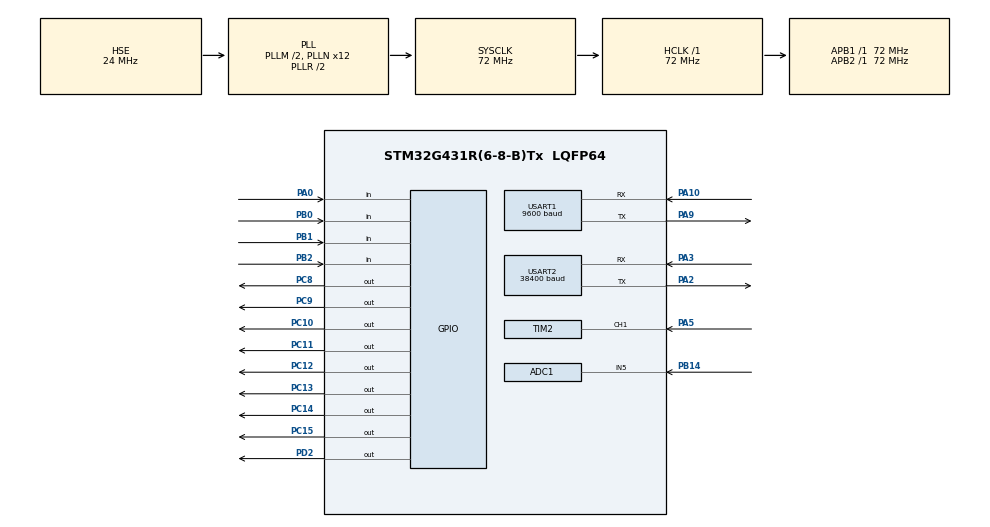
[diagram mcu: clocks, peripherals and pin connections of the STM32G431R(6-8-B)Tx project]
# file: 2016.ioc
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ADC1.Channel-0\#ChannelRegularConversion=ADC_CHANNEL_5
ADC1.ClockPrescaler=ADC_CLOCK_ASYNC_DIV2
ADC1.NbrOfConversionFlag=1
ADC1.OffsetNumber-0\#ChannelRegularConversion=ADC_OFFSET_NONE
ADC1.Rank-0\#ChannelRegularConversion=1
ADC1.SamplingTime-0\#ChannelRegularConversion=ADC_SAMPLETIME_640CYCLES_5
ADC1.master=1
Mcu.Family=STM32G4
Mcu.Name=STM32G431R(6-8-B)Tx
Mcu.Package=LQFP64
NVIC.ADC1_2_IRQn=true\:0\:0\:false\:false\:true\:true\:true\:true
NVIC.PriorityGroup=NVIC_PRIORITYGROUP_2
NVIC.TIM2_IRQn=true\:0\:0\:false\:false\:true\:true\:true\:true
NVIC.TIM4_IRQn=true\:0\:0\:true\:false\:true\:true\:true\:true
NVIC.USART1_IRQn=true\:1\:0\:true\:false\:true\:true\:true\:true
NVIC.USART2_IRQn=true\:1\:0\:true\:false\:true\:true\:true\:true
PA0.Signal=GPIO_Input
PA10.GPIO_ModeDefaultPP=GPIO_MODE_AF_PP
PA10.Mode=Asynchronous
PA10.Signal=USART1_RX
PA2.Mode=Asynchronous
PA2.Signal=USART2_TX
PA3.Mode=Asynchronous
PA3.Signal=USART2_RX
PA5.Signal=S_TIM2_CH1
PA9.GPIO_ModeDefaultPP=GPIO_MODE_AF_PP
PA9.Mode=Asynchronous
PA9.Signal=USART1_TX
PB0.Signal=GPIO_Input
PB1.Signal=GPIO_Input
PB14.Mode=IN5-Single-Ended
PB14.Signal=ADC1_IN5
PB2.Signal=GPIO_Input
PC10.PinState=GPIO_PIN_SET
PC10.Signal=GPIO_Output
PC11.PinState=GPIO_PIN_SET
PC11.Signal=GPIO_Output
PC12.PinState=GPIO_PIN_SET
PC12.Signal=GPIO_Output
PC13.PinState=GPIO_PIN_SET
PC13.Signal=GPIO_Output
PC14-OSC32_IN.PinState=GPIO_PIN_SET
PC14-OSC32_IN.Signal=GPIO_Output
PC15-OSC32_OUT.PinState=GPIO_PIN_SET
PC15-OSC32_OUT.Signal=GPIO_Output
PC8.PinState=GPIO_PIN_SET
PC8.Signal=GPIO_Output
PC9.PinState=GPIO_PIN_SET
PC9.Signal=GPIO_Output
PD2.PinState=GPIO_PIN_SET
PD2.Signal=GPIO_Output
PF0-OSC_IN.Mode=HSE-External-Oscillator
PF0-OSC_IN.Signal=RCC_OSC_IN
PF1-OSC_OUT.Mode=HSE-External-Oscillator
PF1-OSC_OUT.Signal=RCC_OSC_OUT
ProjectManager.HeapSize=0x200
ProjectManager.StackSize=0x400
ProjectManager.TargetToolchain=MDK-ARM V5
RCC.ADC12Freq_Value=72000000
RCC.AHBFreq_Value=72000000
RCC.APB1Freq_Value=72000000
RCC.APB1TimFreq_Value=72000000
RCC.APB2Freq_Value=72000000
RCC.APB2TimFreq_Value=72000000
RCC.CortexFreq_Value=72000000
RCC.EXTERNAL_CLOCK_VALUE=12288000
RCC.EnbaleCSS=true
RCC.HCLKFreq_Value=72000000
RCC.HSE_VALUE=24000000
RCC.HSI48_VALUE=48000000
RCC.HSI_VALUE=16000000
RCC.LSE_VALUE=32768
RCC.PLLM=RCC_PLLM_DIV2
RCC.PLLN=12
RCC.PLLSourceVirtual=RCC_PLLSOURCE_HSE
RCC.SYSCLKFreq_VALUE=72000000
RCC.SYSCLKSource=RCC_SYSCLKSOURCE_PLLCLK
RCC.USBFreq_Value=72000000
RCC.VCOOutputFreq_Value=144000000
SH.S_TIM2_CH1.0=TIM2_CH1,Input_Capture1_from_TI1
SH.S_TIM2_CH1.1=TIM2_CH1,TriggerSource_TI1FP1
TIM2.AutoReloadPreload=TIM_AUTORELOAD_PRELOAD_ENABLE
TIM2.Channel-Input_Capture1_from_TI1=TIM_CHANNEL_1
TIM2.Channel-Input_Capture2_from_TI1_63=TIM_CHANNEL_2
TIM2.ICFilter_CH1=0
TIM2.ICPolarity_CH2=TIM_INPUTCHANNELPOLARITY_FALLING
TIM4.AutoReloadPreload=TIM_AUTORELOAD_PRELOAD_DISABLE
TIM4.PeriodNoDither=999
TIM4.Prescaler=71
USART1.BaudRate=9600
USART1.VirtualMode-Asynchronous=VM_ASYNC
USART2.BaudRate=38400
USART2.VirtualMode-Asynchronous=VM_ASYNC
VP_SYS_VS_DBSignals.Mode=DisableDeadBatterySignals
VP_TIM2_VS_ClockSourceINT.Mode=Internal
VP_TIM2_VS_ControllerModeReset.Mode=Reset Mode
VP_TIM2_VS_indirect_ch1.Mode=Input_Capture2_from_TI1_63
VP_TIM4_VS_ClockSourceINT.Mode=Internal
board=custom

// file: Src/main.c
/* USER CODE BEGIN Header */
/**
  ******************************************************************************
  * @file           : main.c
  * @brief          : Main program body
  ******************************************************************************
  * @attention
  *
  * <h2><center>&copy; Copyright (c) 2023 STMicroelectronics.
  * All rights reserved.</center></h2>
  *
  * This software component is licensed by ST under BSD 3-Clause license,
  * the "License"; You may not use this file except in compliance with the
  * License. You may obtain a copy of the License at:
  *                        opensource.org/licenses/BSD-3-Clause
  *
  ******************************************************************************
  */
/* USER CODE END Header */
#include "main.h"
#include "adc.h"
#include "tim.h"
#include "usart.h"
#include "gpio.h"

/* USER CODE BEGIN Includes */
#include "lcd.h"
#include "stdio.h"
/* USER CODE END Includes */

/* USER CODE BEGIN PTD */
__IO uint32_t keyslow = 0;
__IO uint32_t ledslow = 0;
__IO uint32_t lcdslow = 0;
__IO uint32_t uartslow = 0;
__IO uint32_t led_bling = 0;

/* USER CODE END PTD */

/* USER CODE BEGIN PD */
uint8_t uk_val,uk_down,uk_up,uk_old;
uint8_t Lcd_string[21];
uint8_t ucled;
//*ADC测量相关变量

float adc_voltage = 0;
uint16_t adc_cnt = 0;
uint16_t adc_max;

//*使用输入捕获测量频率相关变量
uint16_t PWM1_T_Count;
uint16_t PWM1_D_Count;
float PWM1_Duty;

uint8_t tim_flag=0;
uint32_t PWM_RisingCount;
uint32_t PWM_FallingCount;
float max=0;
float min=0.05;
float vpp=0;
float duty=0;

//*串口相关变量
uint8_t rx_buffer;
uint8_t str[40];
uint8_t counter;

//*外部计数器模式测量频率相关频率
uint32_t FQ; 			// 频率
float Time;				//周期
uint16_t CNT_2 = 0; 		// 超出65536位后 用这个记录超过的次数
uint16_t CNT_1 = 0; 		// 0-65536内用这个记录

/* USER CODE END PD */

void SystemClock_Config(void);

int main(void)
{

  /* MCU Configuration--------------------------------------------------------*/

  /* Reset of all peripherals, Initializes the Flash interface and the Systick. */
  HAL_Init();

  /* Configure the system clock */
  SystemClock_Config();

  /* USER CODE BEGIN SysInit */
	void KEY_Proc(void);
	void LCD_Proc(void);
	LCD_Init();
	LCD_Clear(White);
	LCD_SetTextColor(Blue);
	LCD_SetBackColor(White);
	HAL_UART_Receive_IT(&huart2,(uint8_t *)(&rx_buffer),1);

  /* USER CODE END SysInit */

  /* Initialize all configured peripherals */
  MX_GPIO_Init();
  MX_USART1_UART_Init();
  MX_USART2_UART_Init();
  MX_ADC1_Init();
  MX_TIM2_Init();
  MX_TIM4_Init();
  /* USER CODE BEGIN 2 */
  /* 启动定时器 */

  HAL_TIM_Base_Start_IT(&htim4);
//  /* 启动定时器通道输入捕获并开启中断 */
    HAL_TIM_Base_Start(&htim2);
	HAL_TIM_IC_Start_IT(&htim2, TIM_CHANNEL_1);
	HAL_TIM_IC_Start_IT(&htim2, TIM_CHANNEL_2);

  /* USER CODE END 2 */

  /* Infinite loop */
  while (1)
  {

    /* USER CODE BEGIN 3 */
	 adc_voltage = (((float)((get_ADC()*3.3)/4096)));
	 LED_Disp(0x00);
	 KEY_Proc();
	 LCD_Proc();
		if(tim_flag)
		{
			tim_flag=0;
			vpp=max-min;
			sprintf(str, "Fq:%uHz\r\n",72000000/PWM_RisingCount);
			HAL_UART_Transmit(&huart1,(unsigned char *)str, strlen(str), 50);
			sprintf(str, "Duty:%uHz\r\n",duty * 100);
			HAL_UART_Transmit(&huart1,(unsigned char *)str, strlen(str), 50);

         max=0;
		 min=0;

		}

  }
  /* USER CODE END 3 */
}

void SystemClock_Config(void)
{
  RCC_OscInitTypeDef RCC_OscInitStruct = {0};
  RCC_ClkInitTypeDef RCC_ClkInitStruct = {0};
  RCC_PeriphCLKInitTypeDef PeriphClkInit = {0};

  /** Configure the main internal regulator output voltage
  */
  HAL_PWREx_ControlVoltageScaling(PWR_REGULATOR_VOLTAGE_SCALE1);
  /** Initializes the RCC Oscillators according to the specified parameters
  * in the RCC_OscInitTypeDef structure.
  */
  RCC_OscInitStruct.OscillatorType = RCC_OSCILLATORTYPE_HSE;
  RCC_OscInitStruct.HSEState = RCC_HSE_ON;
  RCC_OscInitStruct.PLL.PLLState = RCC_PLL_ON;
  RCC_OscInitStruct.PLL.PLLSource = RCC_PLLSOURCE_HSE;
  RCC_OscInitStruct.PLL.PLLM = RCC_PLLM_DIV2;
  RCC_OscInitStruct.PLL.PLLN = 12;
  RCC_OscInitStruct.PLL.PLLP = RCC_PLLP_DIV2;
  RCC_OscInitStruct.PLL.PLLQ = RCC_PLLQ_DIV2;
  RCC_OscInitStruct.PLL.PLLR = RCC_PLLR_DIV2;
  if (HAL_RCC_OscConfig(&RCC_OscInitStruct) != HAL_OK)
  {
    Error_Handler();
  }
  /** Initializes the CPU, AHB and APB buses clocks
  */
  RCC_ClkInitStruct.ClockType = RCC_CLOCKTYPE_HCLK|RCC_CLOCKTYPE_SYSCLK
                              |RCC_CLOCKTYPE_PCLK1|RCC_CLOCKTYPE_PCLK2;
  RCC_ClkInitStruct.SYSCLKSource = RCC_SYSCLKSOURCE_PLLCLK;
  RCC_ClkInitStruct.AHBCLKDivider = RCC_SYSCLK_DIV1;
  RCC_ClkInitStruct.APB1CLKDivider = RCC_HCLK_DIV1;
  RCC_ClkInitStruct.APB2CLKDivider = RCC_HCLK_DIV1;

  if (HAL_RCC_ClockConfig(&RCC_ClkInitStruct, FLASH_LATENCY_2) != HAL_OK)
  {
    Error_Handler();
  }
  /** Initializes the peripherals clocks
  */
  PeriphClkInit.PeriphClockSelection = RCC_PERIPHCLK_USART1|RCC_PERIPHCLK_USART2
                              |RCC_PERIPHCLK_ADC12;
  PeriphClkInit.Usart1ClockSelection = RCC_USART1CLKSOURCE_PCLK2;
  PeriphClkInit.Usart2ClockSelection = RCC_USART2CLKSOURCE_PCLK1;
  PeriphClkInit.Adc12ClockSelection = RCC_ADC12CLKSOURCE_SYSCLK;
  if (HAL_RCCEx_PeriphCLKConfig(&PeriphClkInit) != HAL_OK)
  {
    Error_Handler();
  }
  /** Enables the Clock Security System
  */
  HAL_RCC_EnableCSS();
}

/* USER CODE BEGIN 4 */

void KEY_Proc(void)
{
	if ((uwTick - keyslow) < 200) return;
	   keyslow = uwTick;

	uk_val = KEY_Scan();
	uk_down = uk_val&(uk_up^uk_old);
	uk_up = ~uk_val&(uk_up^uk_old);
	uk_old = uk_val;

	switch(uk_down)
	{
		case 1:   //按键1按下向设备发送幅度数据
			LCD_Clear(White);
			sprintf(str, "Vp:%4.2fV\r\n",adc_voltage);
			HAL_UART_Transmit(&huart2,(unsigned char *)str, strlen(str), 50);
		break;
		case 2://按键2按下向设备发送频率数据
			sprintf(str, "Freq:%uHz\r\n",72000000/PWM_RisingCount);
			HAL_UART_Transmit(&huart2,(unsigned char *)str, strlen(str), 50);
		break;
		case 3://按键3按下向设备发送周期数据
			sprintf(str, " T:%7.6fs\r\n",(float)((float)PWM_RisingCount/72000000));
			HAL_UART_Transmit(&huart2,(unsigned char *)str, strlen(str), 50);
		break;
		case 4 ://按键2按下向设备发送占空比数据
			sprintf(str, " Duty:%.2f %%\r\n",duty * 100);
			HAL_UART_Transmit(&huart2,(unsigned char *)str, strlen(str), 50);
		break;

	}
}

void LCD_Proc(void)
{
	if ((uwTick - lcdslow) < 1000) return;
	   lcdslow = uwTick;

		sprintf((char *)Lcd_string," Parameter");
		LCD_DisplayStringLine(Line1,Lcd_string);

		sprintf((char *)Lcd_string," Vp:%4.2fV",adc_voltage);  //幅度
		LCD_DisplayStringLine(Line3,Lcd_string);

	    sprintf((char *)Lcd_string," Freq:%dHz      ",72000000/PWM_RisingCount);//频率
		LCD_DisplayStringLine(Line5,Lcd_string);

		sprintf((char *)Lcd_string," T:%7.6fs            ",(float)((float)PWM_RisingCount/72000000));//周期
		LCD_DisplayStringLine(Line7,Lcd_string);

		sprintf((char *)Lcd_string,"Duty = %.2f %%      ",duty * 100);//占空比
		LCD_DisplayStringLine(Line9,Lcd_string);

}

uint16_t get_ADC(void)
{
	uint16_t adc = 0;

	HAL_ADC_Start(&hadc1);
	adc = HAL_ADC_GetValue(&hadc1);
	if(adc > adc_max)	adc_max = adc;
	return adc_max;

}

void HAL_TIM_IC_CaptureCallback(TIM_HandleTypeDef *htim)
{
	if(htim->Channel == HAL_TIM_ACTIVE_CHANNEL_1)
	{
		PWM_RisingCount = HAL_TIM_ReadCapturedValue(&htim2,TIM_CHANNEL_1)+1;
		duty = (float)PWM_FallingCount / PWM_RisingCount;
	}
	if(htim->Channel == HAL_TIM_ACTIVE_CHANNEL_2)
	{
		PWM_FallingCount = HAL_TIM_ReadCapturedValue(&htim2,TIM_CHANNEL_2)+1;
	}

}

//回调函数，定时器中断服务函数调用
void HAL_TIM_PeriodElapsedCallback(TIM_HandleTypeDef *htim)
{
	static uint16_t flag;
	static uint16_t num=0;
    if(htim==(&htim4))
    {
      if(++num==1000)
			{
				tim_flag=1;
				num=0;
				flag=!flag;
				if(flag){
				HAL_TIM_IC_Stop_IT(&htim2, TIM_CHANNEL_1);
			    HAL_TIM_IC_Stop_IT(&htim2, TIM_CHANNEL_2);
				}
				else{
						HAL_TIM_IC_Start_IT(&htim2, TIM_CHANNEL_1);
	                    HAL_TIM_IC_Start_IT(&htim2, TIM_CHANNEL_2);
				}
			}
    }
}

/* USER CODE END 4 */

void Error_Handler(void)
{
  __disable_irq();
  while (1)
  {
  }
}

/************************ (C) COPYRIGHT STMicroelectronics *****END OF FILE****/
